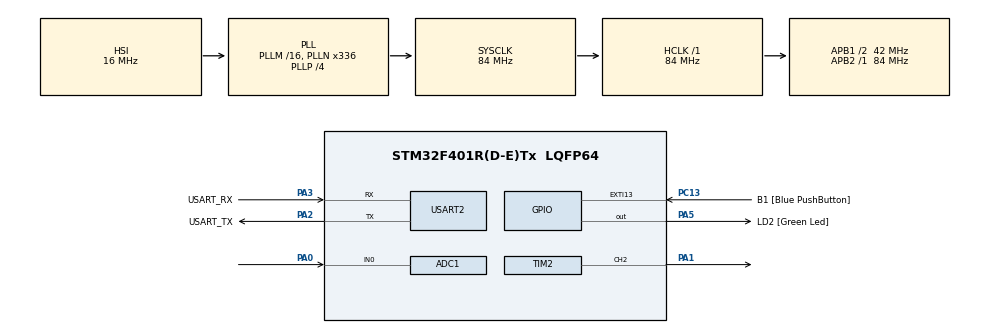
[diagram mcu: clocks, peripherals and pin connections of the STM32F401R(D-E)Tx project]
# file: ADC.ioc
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ADC1.Channel-0\#ChannelRegularConversion=ADC_CHANNEL_0
ADC1.NbrOfConversionFlag=1
ADC1.Rank-0\#ChannelRegularConversion=1
ADC1.SamplingTime-0\#ChannelRegularConversion=ADC_SAMPLETIME_3CYCLES
ADC1.master=1
Mcu.Family=STM32F4
Mcu.Name=STM32F401R(D-E)Tx
Mcu.Package=LQFP64
NVIC.ADC_IRQn=true\:0\:0\:false\:false\:true\:true\:true\:true
NVIC.PriorityGroup=NVIC_PRIORITYGROUP_4
PA0-WKUP.Signal=ADCx_IN0
PA1.Signal=S_TIM2_CH2
PA13.GPIO_Label=TMS
PA13.Mode=Trace_Asynchronous_SW
PA13.Signal=SYS_JTMS-SWDIO
PA14.GPIO_Label=TCK
PA14.Mode=Trace_Asynchronous_SW
PA14.Signal=SYS_JTCK-SWCLK
PA2.GPIO_Label=USART_TX
PA2.GPIO_Mode=GPIO_MODE_AF_PP
PA2.GPIO_PuPd=GPIO_NOPULL
PA2.GPIO_Speed=GPIO_SPEED_FREQ_LOW
PA2.Mode=Asynchronous
PA2.Signal=USART2_TX
PA3.GPIO_Label=USART_RX
PA3.GPIO_Mode=GPIO_MODE_AF_PP
PA3.GPIO_PuPd=GPIO_NOPULL
PA3.GPIO_Speed=GPIO_SPEED_FREQ_LOW
PA3.Mode=Asynchronous
PA3.Signal=USART2_RX
PA5.GPIO_Label=LD2 [Green Led]
PA5.GPIO_Mode=GPIO_MODE_OUTPUT_PP
PA5.GPIO_PuPd=GPIO_NOPULL
PA5.GPIO_Speed=GPIO_SPEED_FREQ_LOW
PA5.Signal=GPIO_Output
PB3.GPIO_Label=SWO
PB3.Mode=Trace_Asynchronous_SW
PB3.Signal=SYS_JTDO-SWO
PC13-ANTI_TAMP.GPIO_Label=B1 [Blue PushButton]
PC13-ANTI_TAMP.GPIO_ModeDefaultEXTI=GPIO_MODE_IT_FALLING
PC13-ANTI_TAMP.GPIO_PuPd=GPIO_NOPULL
PC13-ANTI_TAMP.Signal=GPXTI13
PC14-OSC32_IN.Mode=LSE-External-Oscillator
PC14-OSC32_IN.Signal=RCC_OSC32_IN
PC15-OSC32_OUT.Mode=LSE-External-Oscillator
PC15-OSC32_OUT.Signal=RCC_OSC32_OUT
PH0\ -\ OSC_IN.Mode=HSE-External-Clock-Source
PH0\ -\ OSC_IN.Signal=RCC_OSC_IN
PH1\ -\ OSC_OUT.Mode=HSE-External-Clock-Source
PH1\ -\ OSC_OUT.Signal=RCC_OSC_OUT
ProjectManager.HeapSize=0x200
ProjectManager.StackSize=0x400
ProjectManager.TargetToolchain=STM32CubeIDE
RCC.48MHZClocksFreq_Value=48000000
RCC.AHBFreq_Value=84000000
RCC.APB1CLKDivider=RCC_HCLK_DIV2
RCC.APB1Freq_Value=42000000
RCC.APB1TimFreq_Value=84000000
RCC.APB2Freq_Value=84000000
RCC.APB2TimFreq_Value=84000000
RCC.CortexFreq_Value=84000000
RCC.HCLKFreq_Value=84000000
RCC.HSE_VALUE=8000000
RCC.HSI_VALUE=16000000
RCC.PLLN=336
RCC.PLLP=RCC_PLLP_DIV4
RCC.PLLQ=7
RCC.SYSCLKFreq_VALUE=84000000
RCC.SYSCLKSource=RCC_SYSCLKSOURCE_PLLCLK
RCC.VCOOutputFreq_Value=336000000
SH.ADCx_IN0.0=ADC1_IN0,IN0
SH.S_TIM2_CH2.0=TIM2_CH2,PWM Generation2 CH2
TIM2.Channel-PWM\ Generation2\ CH2=TIM_CHANNEL_2
TIM2.Period=1000
TIM2.Prescaler=83
TIM2.Pulse-PWM\ Generation2\ CH2=1000
USART2.VirtualMode=VM_ASYNC
board=NUCLEO-F401RE

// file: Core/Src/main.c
/* USER CODE BEGIN Header */
/**
  ******************************************************************************
  * @file           : main.c
  * @brief          : Main program body
  ******************************************************************************
  * @attention
  *
  * Copyright (c) 2025 STMicroelectronics.
  * All rights reserved.
  *
  * This software is licensed under terms that can be found in the LICENSE file
  * in the root directory of this software component.
  * If no LICENSE file comes with this software, it is provided AS-IS.
  *
  ******************************************************************************
  */
/* USER CODE END Header */
#include "main.h"

ADC_HandleTypeDef hadc1;

TIM_HandleTypeDef htim2;

UART_HandleTypeDef huart2;

/* USER CODE BEGIN PV */
ADC_ChannelConfTypeDef sConfig = {0}; // For changing ADC channel
uint32_t adc_value = 0;
uint8_t duty_cycle = 0;
char msg[32];
/* USER CODE END PV */

void SystemClock_Config(void);
static void MX_GPIO_Init(void);
static void MX_USART2_UART_Init(void);
static void MX_ADC1_Init(void);
static void MX_TIM2_Init(void);

/* USER CODE BEGIN 0 */
void HAL_ADC_ConvCpltCallback(ADC_HandleTypeDef* hadc) {	// ISR ADC complete
    if (hadc->Instance == ADC1) {
        adc_value = HAL_ADC_GetValue(hadc);
        duty_cycle = (adc_value * 100) / 4095;
        snprintf(msg, sizeof(msg), "Duty Cycle interrupt: %u\r\n", duty_cycle);
        HAL_UART_Transmit(&huart2, (uint8_t*)msg, strlen(msg), HAL_MAX_DELAY);
        __HAL_TIM_SET_COMPARE(&htim2, TIM_CHANNEL_2, ((duty_cycle * 1000) / 100));
    }
}
/* USER CODE END 0 */

int main(void)
{

  /* MCU Configuration--------------------------------------------------------*/

  /* Reset of all peripherals, Initializes the Flash interface and the Systick. */
  HAL_Init();

  /* Configure the system clock */
  SystemClock_Config();

  /* Initialize all configured peripherals */
  MX_GPIO_Init();
  MX_USART2_UART_Init();
  MX_ADC1_Init();
  MX_TIM2_Init();
  /* USER CODE BEGIN 2 */
  HAL_TIM_PWM_Start(&htim2, TIM_CHANNEL_2);
  /* USER CODE END 2 */

  /* Infinite loop */
  /* USER CODE BEGIN WHILE */
  while (1)
  {
	  // Polling on IN0
	  HAL_ADC_Start(&hadc1);
	  if (HAL_ADC_PollForConversion(&hadc1, 100) == HAL_OK)
	  {
	      adc_value = HAL_ADC_GetValue(&hadc1);

	      duty_cycle = (adc_value * 100) / 4095;
	      snprintf(msg, sizeof(msg), "Duty Cycle busy: %u\r\n", duty_cycle);
	      HAL_UART_Transmit(&huart2, (uint8_t*)msg, strlen(msg), HAL_MAX_DELAY);
	      __HAL_TIM_SET_COMPARE(&htim2, TIM_CHANNEL_2, ((duty_cycle * 1000) / 100));
	  }
	  HAL_ADC_Stop(&hadc1);

	  HAL_Delay(100);

	  // Interrupt
	  HAL_ADC_Start_IT(&hadc1); // Will trigger callback when done

	  HAL_Delay(100);
    /* USER CODE END WHILE */

  }
}

void SystemClock_Config(void)
{
  RCC_OscInitTypeDef RCC_OscInitStruct = {0};
  RCC_ClkInitTypeDef RCC_ClkInitStruct = {0};

  /** Configure the main internal regulator output voltage
  */
  __HAL_RCC_PWR_CLK_ENABLE();
  __HAL_PWR_VOLTAGESCALING_CONFIG(PWR_REGULATOR_VOLTAGE_SCALE2);

  /** Initializes the RCC Oscillators according to the specified parameters
  * in the RCC_OscInitTypeDef structure.
  */
  RCC_OscInitStruct.OscillatorType = RCC_OSCILLATORTYPE_HSI;
  RCC_OscInitStruct.HSIState = RCC_HSI_ON;
  RCC_OscInitStruct.HSICalibrationValue = RCC_HSICALIBRATION_DEFAULT;
  RCC_OscInitStruct.PLL.PLLState = RCC_PLL_ON;
  RCC_OscInitStruct.PLL.PLLSource = RCC_PLLSOURCE_HSI;
  RCC_OscInitStruct.PLL.PLLM = 16;
  RCC_OscInitStruct.PLL.PLLN = 336;
  RCC_OscInitStruct.PLL.PLLP = RCC_PLLP_DIV4;
  RCC_OscInitStruct.PLL.PLLQ = 7;
  if (HAL_RCC_OscConfig(&RCC_OscInitStruct) != HAL_OK)
  {
    Error_Handler();
  }

  /** Initializes the CPU, AHB and APB buses clocks
  */
  RCC_ClkInitStruct.ClockType = RCC_CLOCKTYPE_HCLK|RCC_CLOCKTYPE_SYSCLK
                              |RCC_CLOCKTYPE_PCLK1|RCC_CLOCKTYPE_PCLK2;
  RCC_ClkInitStruct.SYSCLKSource = RCC_SYSCLKSOURCE_PLLCLK;
  RCC_ClkInitStruct.AHBCLKDivider = RCC_SYSCLK_DIV1;
  RCC_ClkInitStruct.APB1CLKDivider = RCC_HCLK_DIV2;
  RCC_ClkInitStruct.APB2CLKDivider = RCC_HCLK_DIV1;

  if (HAL_RCC_ClockConfig(&RCC_ClkInitStruct, FLASH_LATENCY_2) != HAL_OK)
  {
    Error_Handler();
  }
}

static void MX_ADC1_Init(void)
{

  ADC_ChannelConfTypeDef sConfig = {0};

  /** Configure the global features of the ADC (Clock, Resolution, Data Alignment and number of conversion)
  */
  hadc1.Instance = ADC1;
  hadc1.Init.ClockPrescaler = ADC_CLOCK_SYNC_PCLK_DIV4;
  hadc1.Init.Resolution = ADC_RESOLUTION_12B;
  hadc1.Init.ScanConvMode = DISABLE;
  hadc1.Init.ContinuousConvMode = DISABLE;
  hadc1.Init.DiscontinuousConvMode = DISABLE;
  hadc1.Init.ExternalTrigConvEdge = ADC_EXTERNALTRIGCONVEDGE_NONE;
  hadc1.Init.ExternalTrigConv = ADC_SOFTWARE_START;
  hadc1.Init.DataAlign = ADC_DATAALIGN_RIGHT;
  hadc1.Init.NbrOfConversion = 1;
  hadc1.Init.DMAContinuousRequests = DISABLE;
  hadc1.Init.EOCSelection = ADC_EOC_SINGLE_CONV;
  if (HAL_ADC_Init(&hadc1) != HAL_OK)
  {
    Error_Handler();
  }

  /** Configure for the selected ADC regular channel its corresponding rank in the sequencer and its sample time.
  */
  sConfig.Channel = ADC_CHANNEL_0;
  sConfig.Rank = 1;
  sConfig.SamplingTime = ADC_SAMPLETIME_3CYCLES;
  if (HAL_ADC_ConfigChannel(&hadc1, &sConfig) != HAL_OK)
  {
    Error_Handler();
  }

}

static void MX_TIM2_Init(void)
{

  TIM_MasterConfigTypeDef sMasterConfig = {0};
  TIM_OC_InitTypeDef sConfigOC = {0};

  htim2.Instance = TIM2;
  htim2.Init.Prescaler = 83;
  htim2.Init.CounterMode = TIM_COUNTERMODE_UP;
  htim2.Init.Period = 1000;
  htim2.Init.ClockDivision = TIM_CLOCKDIVISION_DIV1;
  htim2.Init.AutoReloadPreload = TIM_AUTORELOAD_PRELOAD_DISABLE;
  if (HAL_TIM_PWM_Init(&htim2) != HAL_OK)
  {
    Error_Handler();
  }
  sMasterConfig.MasterOutputTrigger = TIM_TRGO_RESET;
  sMasterConfig.MasterSlaveMode = TIM_MASTERSLAVEMODE_DISABLE;
  if (HAL_TIMEx_MasterConfigSynchronization(&htim2, &sMasterConfig) != HAL_OK)
  {
    Error_Handler();
  }
  sConfigOC.OCMode = TIM_OCMODE_PWM1;
  sConfigOC.Pulse = 1000;
  sConfigOC.OCPolarity = TIM_OCPOLARITY_HIGH;
  sConfigOC.OCFastMode = TIM_OCFAST_DISABLE;
  if (HAL_TIM_PWM_ConfigChannel(&htim2, &sConfigOC, TIM_CHANNEL_2) != HAL_OK)
  {
    Error_Handler();
  }
  HAL_TIM_MspPostInit(&htim2);

}

static void MX_USART2_UART_Init(void)
{

  huart2.Instance = USART2;
  huart2.Init.BaudRate = 115200;
  huart2.Init.WordLength = UART_WORDLENGTH_8B;
  huart2.Init.StopBits = UART_STOPBITS_1;
  huart2.Init.Parity = UART_PARITY_NONE;
  huart2.Init.Mode = UART_MODE_TX_RX;
  huart2.Init.HwFlowCtl = UART_HWCONTROL_NONE;
  huart2.Init.OverSampling = UART_OVERSAMPLING_16;
  if (HAL_UART_Init(&huart2) != HAL_OK)
  {
    Error_Handler();
  }

}

static void MX_GPIO_Init(void)
{
  GPIO_InitTypeDef GPIO_InitStruct = {0};

  /* GPIO Ports Clock Enable */
  __HAL_RCC_GPIOC_CLK_ENABLE();
  __HAL_RCC_GPIOH_CLK_ENABLE();
  __HAL_RCC_GPIOA_CLK_ENABLE();
  __HAL_RCC_GPIOB_CLK_ENABLE();

  /*Configure GPIO pin Output Level */
  HAL_GPIO_WritePin(LD2_GPIO_Port, LD2_Pin, GPIO_PIN_RESET);

  /*Configure GPIO pin : B1_Pin */
  GPIO_InitStruct.Pin = B1_Pin;
  GPIO_InitStruct.Mode = GPIO_MODE_IT_FALLING;
  GPIO_InitStruct.Pull = GPIO_NOPULL;
  HAL_GPIO_Init(B1_GPIO_Port, &GPIO_InitStruct);

  /*Configure GPIO pin : LD2_Pin */
  GPIO_InitStruct.Pin = LD2_Pin;
  GPIO_InitStruct.Mode = GPIO_MODE_OUTPUT_PP;
  GPIO_InitStruct.Pull = GPIO_NOPULL;
  GPIO_InitStruct.Speed = GPIO_SPEED_FREQ_LOW;
  HAL_GPIO_Init(LD2_GPIO_Port, &GPIO_InitStruct);

}

void Error_Handler(void)
{
  __disable_irq();
  while (1)
  {
  }
}
